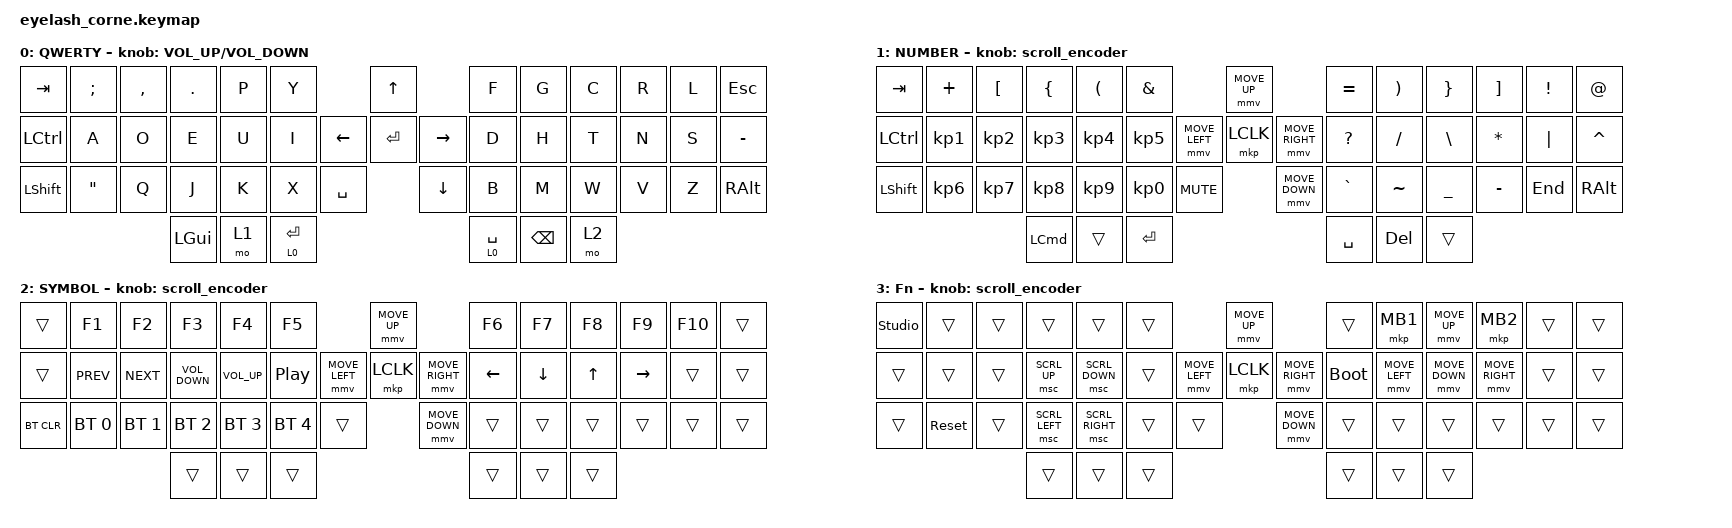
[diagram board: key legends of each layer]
#define ZMK_POINTING_DEFAULT_MOVE_VAL 1200  // 600
#define ZMK_POINTING_DEFAULT_SCRL_VAL 25   // 10

#include <input/processors.dtsi>
#include <zephyr/dt-bindings/input/input-event-codes.h>
#include <behaviors.dtsi>
#include <dt-bindings/zmk/bt.h>
#include <dt-bindings/zmk/keys.h>
#include <dt-bindings/zmk/pointing.h>
#include <dt-bindings/zmk/rgb.h>

&mmv_input_listener { input-processors = <&zip_xy_scaler 2 1>; };

&msc_input_listener { input-processors = <&zip_scroll_scaler 2 1>; };

&msc {
    acceleration-exponent = <1>;      // 0
    time-to-max-speed-ms = <100>;       // 300
    delay-ms = <0>;                   // 0
};

&mmv {
    time-to-max-speed-ms = <500>;
    acceleration-exponent = <1>;
    trigger-period-ms = <16>;
};

&soft_off { hold-time-ms = <2000>; };

/ {
    behaviors {
        td0: td0 {
            compatible = "zmk,behavior-tap-dance";
            display-name = "Shift/Caps Lock Tap Dance";
            #binding-cells = <0>;
            bindings = <&kp LEFT_SHIFT>, <&kp CAPS>;
        };
    };

    rgb_encoder: rgb_encoder {
        compatible = "zmk,behavior-sensor-rotate";
        #sensor-binding-cells = <0>;
        bindings = <&rgb_ug RGB_BRI>, <&rgb_ug RGB_BRD>;
    };

    scroll_encoder: scroll_encoder {
        compatible = "zmk,behavior-sensor-rotate";
        #sensor-binding-cells = <0>;
        bindings = <&msc SCRL_DOWN>, <&msc SCRL_UP>;

        tap-ms = <100>;
    };

    combos {
        compatible = "zmk,combos";

        softoff {
            bindings = <&soft_off>;
            key-positions = <1 15 29>;
        };
    };

    keymap {
        compatible = "zmk,keymap";

        default_layer {
            display-name = "QWERTY";
            bindings = <
&kp TAB           &kp SEMICOLON      &kp COMMA  &kp DOT   &kp P  &kp Y                               &kp UP                &kp F        &kp G          &kp C  &kp R  &kp L  &kp ESC
&kp LEFT_CONTROL  &kp A              &kp O      &kp E     &kp U  &kp I                     &kp LEFT  &kp ENTER  &kp RIGHT  &kp D        &kp H          &kp T  &kp N  &kp S  &kp MINUS
&kp LEFT_SHIFT    &kp DOUBLE_QUOTES  &kp Q      &kp J     &kp K  &kp X        &kp SPACE              &kp DOWN              &kp B        &kp M          &kp W  &kp V  &kp Z  &kp RIGHT_ALT
                                                &kp LGUI  &mo 1  &lt 0 ENTER                                               &lt 0 SPACE  &kp BACKSPACE  &mo 2
            >;

            sensor-bindings = <&inc_dec_kp C_VOLUME_UP C_VOLUME_DOWN>;
        };

        lower_layer {
            display-name = "NUMBER";
            bindings = <
&kp TAB           &kp PLUS         &kp LBKT         &kp LBRC          &kp LPAR         &kp AMPS                                       &mmv MOVE_UP                     &kp EQUAL  &kp RPAR   &kp RBRC        &kp RBKT      &kp EXCL  &kp AT
&kp LEFT_CONTROL  &kp KP_NUMBER_1  &kp KP_NUMBER_2  &kp KP_NUMBER_3   &kp KP_NUMBER_4  &kp KP_NUMBER_5                &mmv MOVE_LEFT  &mkp LCLK       &mmv MOVE_RIGHT  &kp QMARK  &kp FSLH   &kp BACKSLASH   &kp ASTERISK  &kp PIPE  &kp CARET
&kp LEFT_SHIFT    &kp KP_NUMBER_6  &kp KP_NUMBER_7  &kp KP_NUMBER_8   &kp KP_NUMBER_9  &kp KP_NUMBER_0  &kp C_MUTE                    &mmv MOVE_DOWN                   &kp GRAVE  &kp TILDE  &kp UNDERSCORE  &kp MINUS     &kp END   &kp RIGHT_ALT
                                                    &kp LEFT_COMMAND  &trans           &kp ENTER                                                                       &kp SPACE  &kp DEL    &trans
            >;

            sensor-bindings = <&scroll_encoder>;
        };

        raise_layer {
            display-name = "SYMBOL";
            bindings = <
&trans      &kp F1        &kp F2        &kp F3             &kp F4           &kp F5                                  &mmv MOVE_UP                     &kp F6          &kp F7          &kp F8        &kp F9           &kp F10  &trans
&trans      &kp C_PREV    &kp C_NEXT    &kp C_VOLUME_DOWN  &kp C_VOLUME_UP  &kp C_PP                &mmv MOVE_LEFT  &mkp LCLK       &mmv MOVE_RIGHT  &kp LEFT_ARROW  &kp DOWN_ARROW  &kp UP_ARROW  &kp RIGHT_ARROW  &trans   &trans
&bt BT_CLR  &bt BT_SEL 0  &bt BT_SEL 1  &bt BT_SEL 2       &bt BT_SEL 3     &bt BT_SEL 4  &trans                    &mmv MOVE_DOWN                   &trans          &trans          &trans        &trans           &trans   &trans
                                        &trans             &trans           &trans                                                                   &trans          &trans          &trans
            >;

            sensor-bindings = <&scroll_encoder>;
        };

        layer_3 {
            display-name = "Fn";
            bindings = <
&studio_unlock  &trans      &trans  &trans          &trans           &trans                            &mmv MOVE_UP                     &trans       &mkp MB1        &mmv MOVE_UP    &mkp MB2         &trans  &trans
&trans          &trans      &trans  &msc SCRL_UP    &msc SCRL_DOWN   &trans            &mmv MOVE_LEFT  &mkp LCLK       &mmv MOVE_RIGHT  &bootloader  &mmv MOVE_LEFT  &mmv MOVE_DOWN  &mmv MOVE_RIGHT  &trans  &trans
&trans          &sys_reset  &trans  &msc SCRL_LEFT  &msc SCRL_RIGHT  &trans  &trans                    &mmv MOVE_DOWN                   &trans       &trans          &trans          &trans           &trans  &trans
                                    &trans          &trans           &trans                                                             &trans       &trans          &trans
            >;

            sensor-bindings = <&scroll_encoder>;
        };
    };
};
